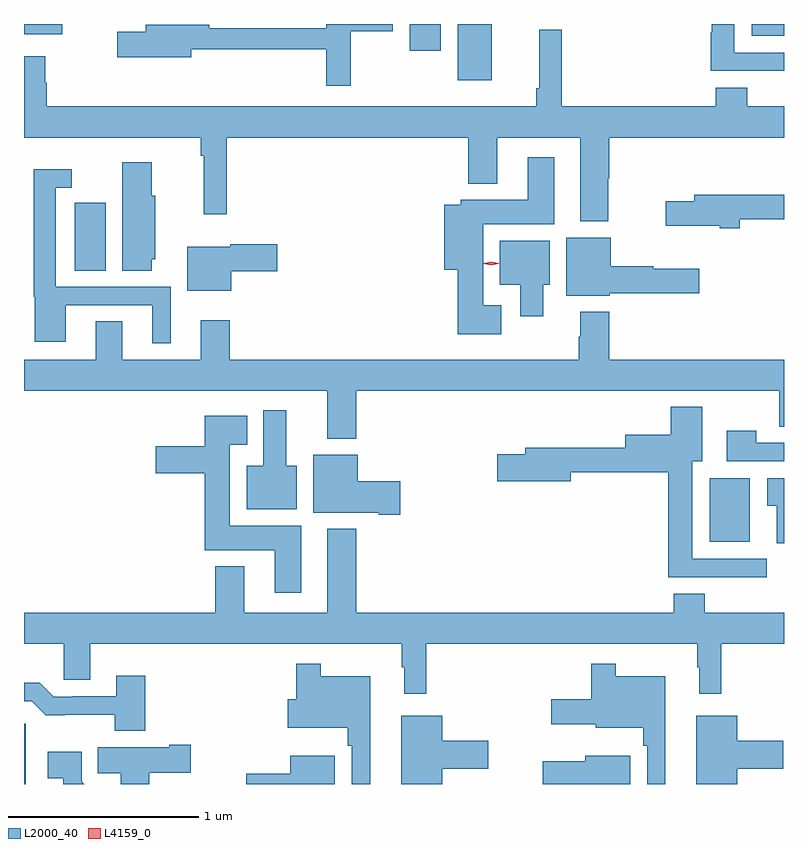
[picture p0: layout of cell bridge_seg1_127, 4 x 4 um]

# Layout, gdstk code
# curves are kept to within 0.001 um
import gdstk
lib = gdstk.Library(unit=1e-6, precision=1e-09)
def R(c, l, rs):  # rectangles x0, y0, x1, y1
    for r in rs: c.add(gdstk.rectangle(r[:2], r[2:], *l))
def P(c, l, *ps):  # polygons
    for p in ps: c.add(gdstk.Polygon(p, *l))
L2000_40 = (2000, 40)
L4159_0 = (4159, 0)

bridge_seg1_127 = lib.new_cell('bridge_seg1_127')
R(bridge_seg1_127, L2000_40, [(480.084,561.65,480.094,561.966), (483.692,562.925,483.904,563.26), (480.35,564.352,480.514,564.709), (482.366,565.355,482.545,565.65), (482.114,565.509,482.278,565.65), (483.914,565.589,484.084,565.65), (480.084,565.595,480.286,565.65)])
P(bridge_seg1_127, L2000_40, [(484.084,565.5),(483.823,565.5),(483.823,565.65),(483.703,565.65),(483.703,565.607),(483.698,565.607),(483.698,565.403),(484.084,565.403)],
  [(481.804,565.611),(482.025,565.611),(482.025,565.65),(481.675,565.65),(481.675,565.628),(481.06,565.628),(481.06,565.646),(480.725,565.646),(480.725,565.61),(480.576,565.61),(480.576,565.475),(480.964,565.475),(480.964,565.518),(481.675,565.518),(481.675,565.326),(481.804,565.326)],
  [(483.159,564.837),(483.164,564.837),(483.164,565.052),(484.084,565.052),(484.084,565.216),(483.89,565.216),(483.89,565.315),(483.725,565.315),(483.725,565.216),(482.915,565.216),(482.915,565.621),(482.797,565.621),(482.797,565.312),(482.779,565.312),(482.779,565.216),(480.203,565.216),(480.203,565.34),(480.196,565.34),(480.196,565.48),(480.086,565.48),(480.086,565.34),(480.084,565.34),(480.084,565.052),(481.015,565.052),(481.015,564.956),(481.03,564.956),(481.03,564.648),(481.151,564.648),(481.151,565.052),(482.423,565.052),(482.423,564.809),(482.575,564.809),(482.575,565.052),(483.011,565.052),(483.011,564.611),(483.159,564.611)],
  [(482.596,564.169),(482.5,564.169),(482.5,564.596),(482.875,564.596),(482.875,564.949),(482.735,564.949),(482.735,564.724),(482.382,564.724),(482.382,564.7),(482.297,564.7),(482.297,564.356),(482.366,564.356),(482.366,564.017),(482.596,564.017)],
  [(480.757,564.411),(480.775,564.411),(480.775,564.747),(480.757,564.747),(480.757,564.922),(480.602,564.922),(480.602,564.352),(480.757,564.352)],
  [(480.856,564.267),(480.252,564.267),(480.252,564.789),(480.334,564.789),(480.334,564.886),(480.136,564.886),(480.136,564.214),(480.14,564.214),(480.14,563.978),(480.304,563.978),(480.304,564.171),(480.758,564.171),(480.758,563.97),(480.856,563.97)],
  [(483.85,564.622),(484.084,564.622),(484.084,564.751),(483.611,564.751),(483.611,564.717),(483.462,564.717),(483.462,564.587),(483.746,564.587),(483.746,564.575),(483.85,564.575)],
  [(483.168,564.232),(483.637,564.232),(483.637,564.361),(483.396,564.361),(483.396,564.374),(483.172,564.374),(483.172,564.526),(482.939,564.526),(482.939,564.221),(483.168,564.221)],
  [(482.818,564.278),(482.851,564.278),(482.851,564.508),(482.588,564.508),(482.588,564.278),(482.696,564.278),(482.696,564.111),(482.818,564.111)],
  [(481.174,564.349),(481.417,564.349),(481.417,564.491),(481.17,564.491),(481.17,564.478),(480.944,564.478),(480.944,564.245),(481.174,564.245)],
  [(481.832,563.72),(484.06,563.72),(484.06,563.53),(484.084,563.53),(484.084,563.884),(483.164,563.884),(483.164,564.136),(483.011,564.136),(483.011,564.005),(483.004,564.005),(483.004,563.884),(481.166,563.884),(481.166,564.091),(481.013,564.091),(481.013,563.884),(480.601,563.884),(480.601,564.086),(480.461,564.086),(480.461,563.884),(480.084,563.884),(480.084,563.72),(481.679,563.72),(481.679,563.468),(481.832,563.468)],
  [(483.994,562.836),(483.601,562.836),(483.601,563.348),(483.655,563.348),(483.655,563.635),(483.488,563.635),(483.488,563.488),(483.248,563.488),(483.248,563.419),(482.723,563.419),(482.723,563.385),(482.574,563.385),(482.574,563.243),(482.962,563.243),(482.962,563.29),(483.476,563.29),(483.476,562.739),(483.994,562.739)],
  [(481.519,563.326),(481.465,563.326),(481.465,563.617),(481.343,563.617),(481.343,563.326),(481.256,563.326),(481.256,563.096),(481.519,563.096)],
  [(481.543,563.008),(481.168,563.008),(481.168,563.435),(481.258,563.435),(481.258,563.587),(481.034,563.587),(481.034,563.427),(480.777,563.427),(480.777,563.285),(481.034,563.285),(481.034,562.88),(481.403,562.88),(481.403,562.656),(481.543,562.656)],
  [(484.084,563.445),(483.939,563.445),(483.939,563.509),(483.783,563.509),(483.783,563.349),(484.084,563.349)],
  [(482.065,563.244),(481.84,563.244),(481.84,563.383),(481.607,563.383),(481.607,563.078),(481.952,563.078),(481.952,563.066),(482.065,563.066)],
  [(484.084,563.26),(483.995,563.26),(483.995,563.114),(484.046,563.114),(484.046,562.916),(484.084,562.916)],
  [(482.201,562.388),(483.627,562.388),(483.627,562.265),(483.638,562.265),(483.638,562.125),(483.755,562.125),(483.755,562.388),(484.084,562.388),(484.084,562.552),(483.668,562.552),(483.668,562.651),(483.503,562.651),(483.503,562.552),(481.832,562.552),(481.832,562.993),(481.679,562.993),(481.679,562.552),(481.243,562.552),(481.243,562.795),(481.091,562.795),(481.091,562.552),(480.084,562.552),(480.084,562.388),(480.294,562.388),(480.294,562.198),(480.433,562.198),(480.433,562.388),(482.073,562.388),(482.073,562.265),(482.084,562.265),(482.084,562.125),(482.201,562.125)],
  [(481.906,562.216),(481.645,562.216),(481.645,562.282),(481.516,562.282),(481.516,562.095),(481.472,562.095),(481.472,561.947),(481.789,561.947),(481.789,561.851),(481.809,561.851),(481.809,561.65),(481.906,561.65)],
  [(483.46,562.216),(483.199,562.216),(483.199,562.282),(483.07,562.282),(483.07,562.095),(482.859,562.095),(482.859,561.965),(483.093,561.965),(483.093,561.947),(483.343,561.947),(483.343,561.851),(483.363,561.851),(483.363,561.65),(483.46,561.65)],
  [(480.722,562.219),(480.569,562.219),(480.569,562.113),(480.34,562.113),(480.34,562.11),(480.24,562.11),(480.167,562.183),(480.084,562.183),(480.084,562.086),(480.126,562.086),(480.199,562.013),(480.562,562.014),(480.562,561.929),(480.722,561.929)],
  [(483.838,561.731),(484.081,561.731),(484.081,561.878),(483.838,561.878),(483.838,562.009),(483.623,562.009),(483.623,561.65),(483.838,561.65)],
  [(482.284,561.731),(482.527,561.731),(482.527,561.878),(482.284,561.878),(482.284,562.009),(482.069,562.009),(482.069,561.65),(482.284,561.65)],
  [(480.743,561.71),(480.961,561.71),(480.961,561.857),(480.848,561.857),(480.848,561.844),(480.472,561.844),(480.472,561.706),(480.593,561.706),(480.593,561.65),(480.743,561.65)],
  [(480.387,561.665),(480.387,561.82),(480.21,561.82),(480.21,561.68),(480.29,561.68),(480.29,561.65),(480.402,561.65)],
  [(481.72,561.799),(481.484,561.799),(481.484,561.704),(481.254,561.704),(481.254,561.65),(481.72,561.65)],
  [(483.274,561.799),(483.038,561.799),(483.038,561.769),(482.814,561.769),(482.814,561.65),(483.274,561.65)])
P(bridge_seg1_127, L4159_0, [(482.544,564.38),(482.505,564.389),(482.505,564.39),(482.505,564.39),(482.544,564.4),(482.583,564.39),(482.583,564.39),(482.583,564.389)])

lib.write_gds('bridge_seg1_127.gds')
